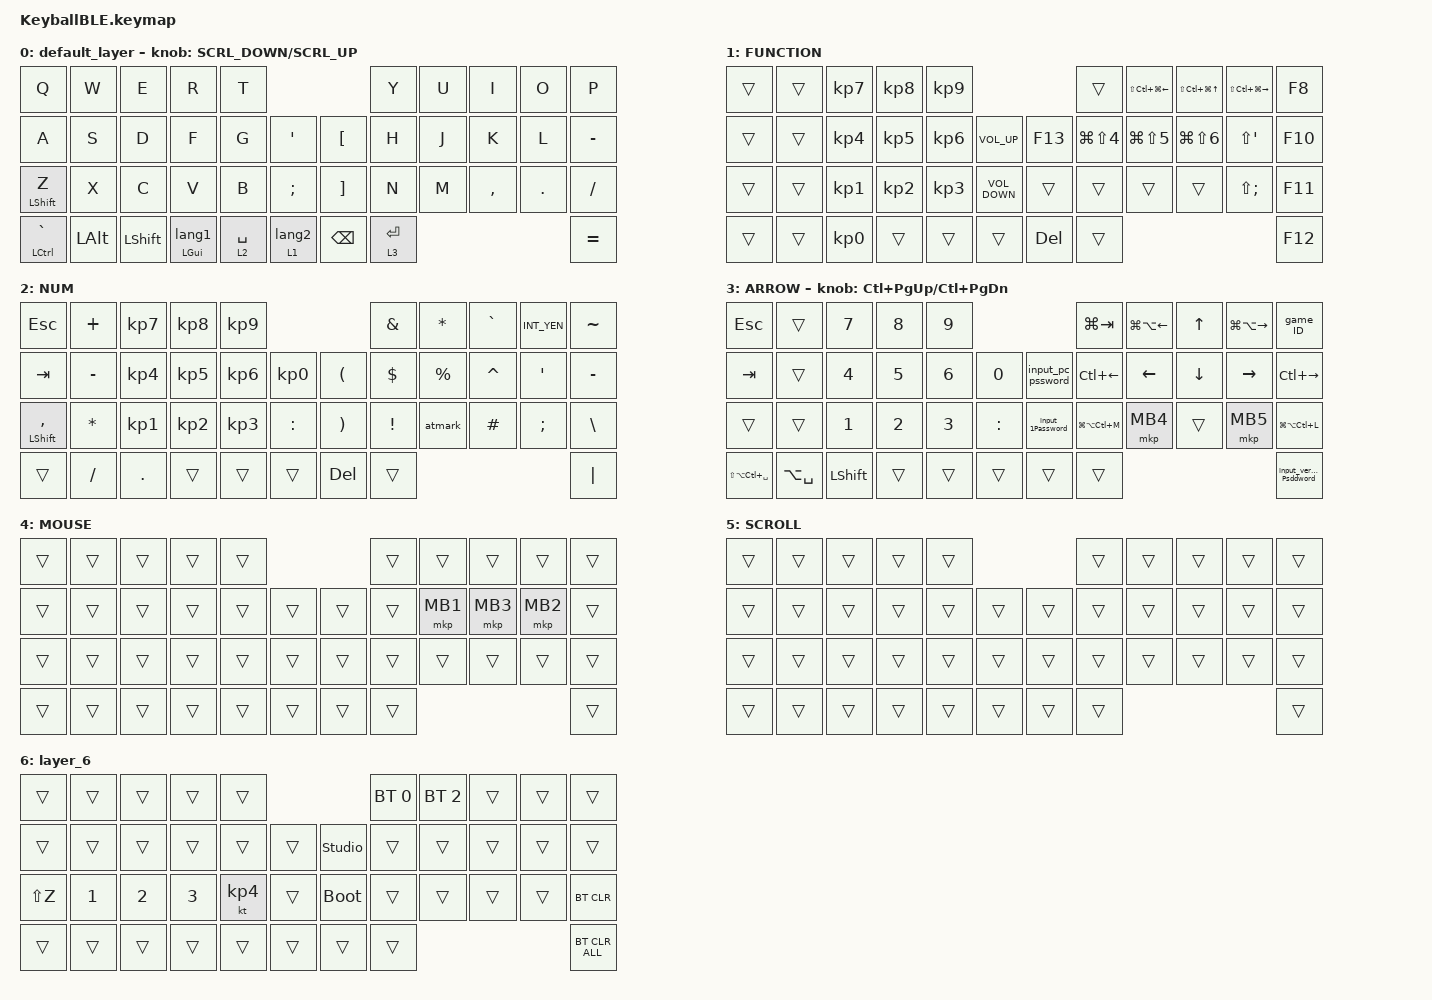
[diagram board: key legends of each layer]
#define ZMK_POINTING_DEFAULT_SCRL_VAL 120    // default: 10

#include <behaviors.dtsi>
#include <dt-bindings/zmk/bt.h>
#include <dt-bindings/zmk/keys.h>
#include <dt-bindings/zmk/pointing.h>

#define MOUSE 4
#define SCROLL 5
#define NUM 6

&mt {
    flavor = "balanced";
    quick-tap-ms = <0>;
};

/ {
    combos {
        compatible = "zmk,combos";

        to_layer4 {
            bindings = <&to 4>;
            key-positions = <18 41>;
        };

        arrow_up {
            bindings = <&kp LG(W)>;
            key-positions = <7 41>;
        };

        to_layer_0 {
            bindings = <&to 0>;
            key-positions = <41 17>;
        };

        copy {
            bindings = <&kp LG(C)>;
            key-positions = <30 41>;
        };

        paste {
            bindings = <&kp LG(LS(V))>;
            key-positions = <41 32>;
        };

        ReLoad {
            bindings = <&kp LG(R)>;
            key-positions = <41 31>;
        };

        to_layer_6 {
            bindings = <&bt BT_NXT>;
            key-positions = <15 27>;
        };

        to_layer_7 {
            bindings = <&tog 6>;
            key-positions = <16 28>;
        };

        input_question {
            bindings = <&kp QUESTION>;
            key-positions = <22 33>;
        };

        esc {
            bindings = <&kp ESC>;
            key-positions = <0 1>;
        };

        tab {
            bindings = <&kp TAB>;
            key-positions = <10 11>;
        };
    };

    macros {
        game_ID: to_layer_0 {
            compatible = "zmk,behavior-macro";
            #binding-cells = <0>;
            bindings = <&kp LANGUAGE_2 &kp T &kp W &kp I &kp R &kp I &kp G &kp H &kp T &kp NUMBER_8 &kp NUMBER_3 &kp NUMBER_1 &kp NUMBER_0 &kp AT_SIGN &kp Y &kp A &kp H &kp O &kp O &kp DOT &kp C &kp O &kp DOT &kp J &kp P>;
            label = "TO_LAYER_0";
        };

        input_1Password: input_1Password {
            compatible = "zmk,behavior-macro";
            #binding-cells = <0>;
            bindings = <&kp LS(T) &kp A &kp M &kp A &kp AT &kp D &kp A &kp N &kp N1 &kp N2 &kp N3 &kp RET>;
            label = "INPUT_1PASSWORD";
        };

        input_versatile_Psddword: input_versatile_Psddword {
            compatible = "zmk,behavior-macro";
            #binding-cells = <0>;
            bindings = <&kp LS(T) &kp A &kp M &kp A &kp D &kp A &kp N &kp N1 &kp N2 &kp N3>;
            label = "INPUT_VERSATILE_PSDDWORD";
        };

        input_pc_pssword: input_pc_pssword {
            compatible = "zmk,behavior-macro";
            #binding-cells = <0>;
            bindings = <&kp LS(T) &kp A &kp M &kp A &kp D &kp A &kp N &kp N8 &kp N3 &kp N1 &kp N0 &kp RET>;
            label = "INPUT_PC_PSSWORD";
        };

        atmark: atmark {
            compatible = "zmk,behavior-macro";
            #binding-cells = <0>;
            bindings = <&kp LANGUAGE_2 &kp AT_SIGN &to 0>;
            label = "ATMARK";
        };

        lang2: lang2 {
            compatible = "zmk,behavior-macro";
            #binding-cells = <0>;
            bindings = <&kp LANGUAGE_2 &to 0>;
            label = "LANG2";
        };

        lang1: lang1 {
            compatible = "zmk,behavior-macro";
            #binding-cells = <0>;
            bindings = <&kp LANGUAGE_1 &to 0>;
            label = "LANG1";
        };
    };

    behaviors {
        lt_to_layer_0: lt_to_layer_0 {
            compatible = "zmk,behavior-hold-tap";
            label = "LAYER_TAP_TO_0";
            bindings = <&mo>, <&game_ID>;

            #binding-cells = <2>;
            tapping-term-ms = <200>;
        };

        ROTATE: ROTATE {
            compatible = "zmk,behavior-sensor-rotate-var";
            label = "ROTATE";
            #sensor-binding-cells = <2>;
            bindings = <&msc>, <&msc>;

            tap-ms = <20>;
        };

        Tap_lang1: Tap_lang1 {
            compatible = "zmk,behavior-hold-tap";
            label = "TAP_LANG1";
            bindings = <&kp>, <&lang1>;

            #binding-cells = <2>;
            tapping-term-ms = <200>;
        };

        tap_lang2: tap_lang2 {
            compatible = "zmk,behavior-hold-tap";
            label = "TAP_LANG2";
            bindings = <&mo>, <&lang2>;

            #binding-cells = <2>;
            tapping-term-ms = <200>;
        };
    };

    keymap {
        compatible = "zmk,keymap";

        default_layer {
            bindings = <
&kp Q             &kp W         &kp E           &kp R                  &kp T                                               &kp Y        &kp U  &kp I      &kp O    &kp P
&kp A             &kp S         &kp D           &kp F                  &kp G        &kp SQT             &kp LEFT_BRACKET   &kp H        &kp J  &kp K      &kp L    &kp MINUS
&mt LEFT_SHIFT Z  &kp X         &kp C           &kp V                  &kp B        &kp SEMICOLON       &kp RIGHT_BRACKET  &kp N        &kp M  &kp COMMA  &kp DOT  &kp SLASH
&mt LCTRL GRAVE   &kp LEFT_ALT  &kp LEFT_SHIFT  &Tap_lang1 LEFT_GUI 0  &lt 2 SPACE  &tap_lang2 1 0      &kp BACKSPACE      &lt 3 ENTER                             &kp EQUAL
            >;

            sensor-bindings = <&ROTATE SCRL_DOWN SCRL_UP>;
        };

        FUNCTION {
            bindings = <
&trans  &trans  &kp KP_NUMBER_7  &kp KP_NUMBER_8  &kp KP_NUMBER_9                                     &trans                &kp LS(LC(LG(LEFT_ARROW)))  &kp LS(LC(LG(UP_ARROW)))  &kp LS(LC(LG(RIGHT_ARROW)))  &kp F8
&trans  &trans  &kp KP_NUMBER_4  &kp KP_N5        &kp KP_NUMBER_6  &kp C_VOLUME_UP        &kp F13     &kp LG(LS(NUMBER_4))  &kp LG(LS(N5))              &kp LG(LS(NUMBER_6))      &kp LS(SINGLE_QUOTE)         &kp F10
&trans  &trans  &kp KP_NUMBER_1  &kp KP_NUMBER_2  &kp KP_NUMBER_3  &kp C_VOLUME_DOWN      &trans      &trans                &trans                      &trans                    &kp LS(SEMICOLON)            &kp F11
&trans  &trans  &kp KP_NUMBER_0  &trans           &trans           &trans                 &kp DELETE  &trans                                                                                                   &kp F12
            >;
        };

        NUM {
            bindings = <
&kp ESC               &kp PLUS      &kp KP_NUMBER_7  &kp KP_NUMBER_8  &kp KP_NUMBER_9                                              &kp AMPERSAND    &kp ASTERISK  &kp GRAVE  &kp INT_YEN       &kp TILDE
&kp TAB               &kp MINUS     &kp KP_NUMBER_4  &kp KP_NUMBER_5  &kp KP_NUMBER_6  &kp KP_NUMBER_0      &kp LEFT_PARENTHESIS   &kp DOLLAR       &kp PERCENT   &kp CARET  &kp SINGLE_QUOTE  &kp MINUS
&mt LEFT_SHIFT COMMA  &kp ASTERISK  &kp KP_NUMBER_1  &kp KP_NUMBER_2  &kp KP_NUMBER_3  &kp COLON            &kp RIGHT_PARENTHESIS  &kp EXCLAMATION  &atmark       &kp HASH   &kp SEMICOLON     &kp BACKSLASH
&trans                &kp SLASH     &kp PERIOD       &trans           &trans           &trans               &kp DELETE             &trans                                                      &kp PIPE
            >;
        };

        ARROW {
            bindings = <
&kp ESCAPE             &trans         &kp N7          &kp N8        &kp N9                                    &kp LG(TAB)         &kp LG(LA(LEFT_ARROW))  &kp UP_ARROW    &kp LG(LA(RIGHT_ARROW))  &game_ID
&kp TAB                &trans         &kp N4          &kp N5        &kp N6  &kp N0         &input_pc_pssword  &kp LC(LEFT_ARROW)  &kp LEFT_ARROW          &kp DOWN_ARROW  &kp RIGHT_ARROW          &kp LC(RIGHT_ARROW)
&trans                 &trans         &kp N1          &kp NUMBER_2  &kp N3  &kp COLON      &input_1Password   &kp LG(LA(LC(M)))   &mkp MB4                &trans          &mkp MB5                 &kp LG(LA(LC(L)))
&kp LS(LA(LC(SPACE)))  &kp LA(SPACE)  &kp LEFT_SHIFT  &trans        &trans  &trans         &trans             &trans                                                                               &input_versatile_Psddword
            >;

            sensor-bindings = <&inc_dec_kp LC(PAGE_UP) LC(PAGE_DOWN)>;
        };

        MOUSE {
            bindings = <
&trans  &trans  &trans  &trans  &trans                      &trans  &trans    &trans    &trans    &trans
&trans  &trans  &trans  &trans  &trans  &trans      &trans  &trans  &mkp MB1  &mkp MB3  &mkp MB2  &trans
&trans  &trans  &trans  &trans  &trans  &trans      &trans  &trans  &trans    &trans    &trans    &trans
&trans  &trans  &trans  &trans  &trans  &trans      &trans  &trans                                &trans
            >;
        };

        SCROLL {
            bindings = <
&trans  &trans  &trans  &trans  &trans                      &trans  &trans  &trans  &trans  &trans
&trans  &trans  &trans  &trans  &trans  &trans      &trans  &trans  &trans  &trans  &trans  &trans
&trans  &trans  &trans  &trans  &trans  &trans      &trans  &trans  &trans  &trans  &trans  &trans
&trans  &trans  &trans  &trans  &trans  &trans      &trans  &trans                          &trans
            >;
        };

        layer_6 {
            bindings = <
&trans     &trans        &trans        &trans        &trans                                 &bt BT_SEL 0  &bt BT_SEL 2  &trans  &trans  &trans
&trans     &trans        &trans        &trans        &trans     &trans      &studio_unlock  &trans        &trans        &trans  &trans  &trans
&kp LS(Z)  &kp NUMBER_1  &kp NUMBER_2  &kp NUMBER_3  &kt KP_N4  &trans      &bootloader     &trans        &trans        &trans  &trans  &bt BT_CLR
&trans     &trans        &trans        &trans        &trans     &trans      &trans          &trans                                      &bt BT_CLR_ALL
            >;
        };
    };
};
